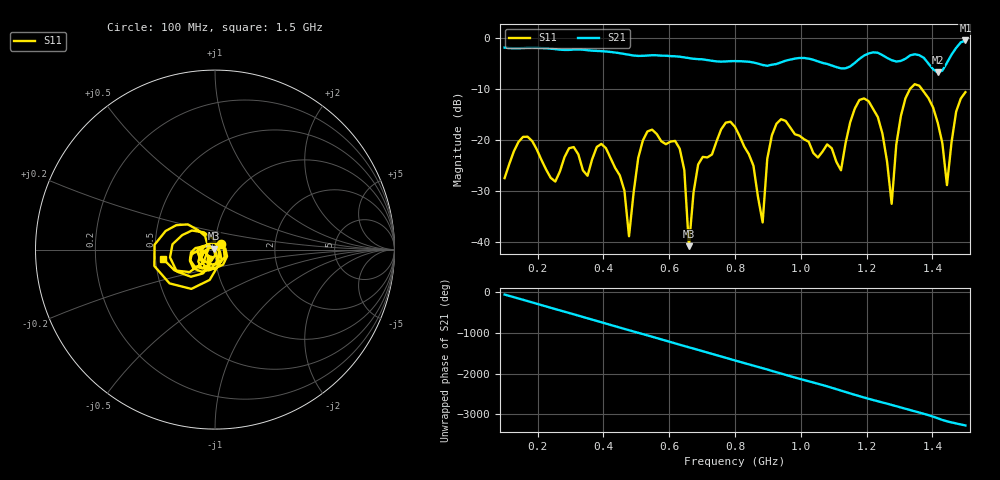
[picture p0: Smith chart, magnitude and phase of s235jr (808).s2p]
! NanoVNA-App
! Date: 2025-09-25 15:10:27
! Start: 100MHz Stop: 1,5GHz Points: 101
! S-Parameter data: F S11 S21 S12 S22
# Hz S RI R 50
!  Frequency  S11_Real  S11_Imag  S21_Real  S21_Imag  S12_Real  S12_Imag  S22_Real  S22_Imag
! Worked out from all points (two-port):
!   101 points, 100 MHz to 1.5 GHz, reference 50 ohm
!   highest |S21| = -0.56 dB at 1.5 GHz (marker M1); lowest = -6.8 dB at 1.416 GHz (marker M2)
!   |S21| within 3 dB of the highest: start of sweep to 502 MHz; 520.8 MHz to 593.4 MHz (72.61 MHz wide, 13 % of centre) (the widest 2 of 5)
!   lowest |S11| = -40.8 dB at 660 MHz (marker M3), VSWR 1.02, Z = 49.3 + j0.537 ohm
!   |S11| at or under -10 dB: start of sweep to 1.332 GHz; 1.367 GHz to end of sweep
!   S12 and S22 are empty: the file has one direction only
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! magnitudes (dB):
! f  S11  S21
! 100 MHz  -27.5  -2.0
! 156 MHz  -19.4  -2.0
! 338 MHz  -26.0  -2.4
! 408 MHz  -21.6  -2.7
! 478 MHz  -38.8  -3.4
! 520 MHz  -20.1  -3.6
! 576 MHz  -20.3  -3.5
! 632 MHz  -21.7  -3.7
! 660 MHz  -40.8  -4.0
! 688 MHz  -24.8  -4.2
! 800 MHz  -17.5  -4.6
! 884 MHz  -36.1  -5.4
! 898 MHz  -23.7  -5.5
! 926 MHz  -16.8  -5.2
! 1.038 GHz  -22.6  -4.3
! 1.122 GHz  -25.9  -6.0
! 1.206 GHz  -12.4  -3.1
! 1.276 GHz  -32.5  -4.4
! 1.332 GHz  -10.0  -3.5
! 1.416 GHz  -16.7  -6.8
! 1.444 GHz  -28.8  -4.9
! 1.5 GHz  -10.7  -0.6
